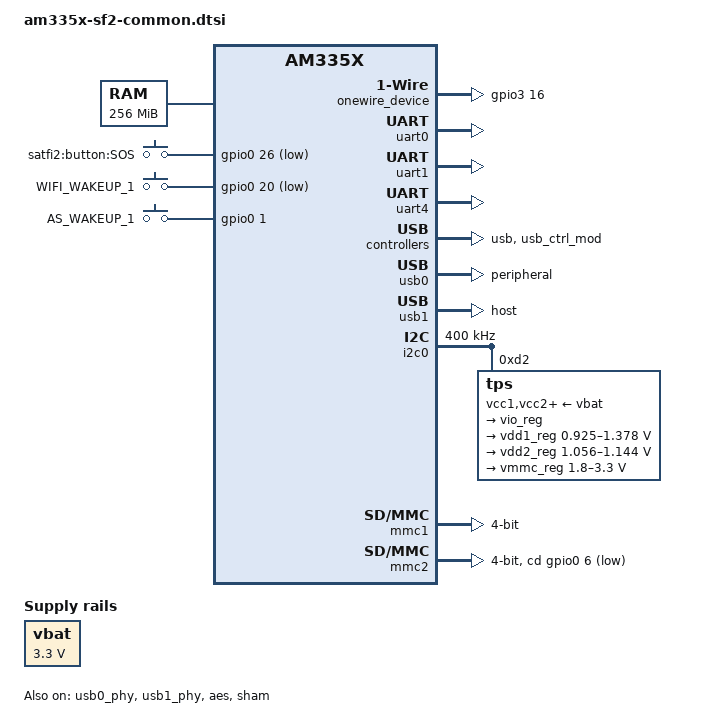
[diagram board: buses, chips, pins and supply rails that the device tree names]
/*
 * Copyright (C) 2012 Texas Instruments Incorporated - http://www.ti.com/
 *
 * This program is free software; you can redistribute it and/or modify
 * it under the terms of the GNU General Public License version 2 as
 * published by the Free Software Foundation.
 *
 * Last Modified 04/27/2017   mjp
 */
// device tree REVG
/ {
    cpus {
        cpu@0 {
            cpu0-supply = <&vdd1_reg>;
        };
    };

    memory {
        device_type = "memory";
        reg = <0x80000000 0x10000000>; /* 256 MB */
    };
/*
    leds {
        pinctrl-names = "default";
        pinctrl-0 = <&user_leds_s0>;

        compatible = "gpio-leds";

        led0 {
            label = "satfi2:led1:red";
            gpios = <&gpio1 21 GPIO_ACTIVE_HIGH>;
            linux,default-trigger = "LED1-RED";
            default-state = "on";
        };

        led1 {
            label = "satfi2:led1:green";
            gpios = <&gpio1 22 GPIO_ACTIVE_HIGH>;
            linux,default-trigger = "LED1-GREEN";
            default-state = "on";
        };

        led2 {
            label = "satfi2:led2:red";
            gpios = <&gpio1 23 GPIO_ACTIVE_HIGH>;
            linux,default-trigger = "LED2-RED";
            default-state = "on";
        };

        led3 {
            label = "satfi2:led2:green";
            gpios = <&gpio1 24 GPIO_ACTIVE_HIGH>;
            linux,default-trigger = "LED2-GREEN";
            default-state = "on";
        };

        led4 {
            label = "satfi2:led3:red";
            gpios = <&gpio1 25 GPIO_ACTIVE_HIGH>;
            linux,default-trigger = "LED3-RED";
            default-state = "on";
        };

        led5 {
            label = "satfi2:led3:green";
            gpios = <&gpio1 26 GPIO_ACTIVE_HIGH>;
            linux,default-trigger = "LED3-GREEN";
            default-state = "on";
        };
    };
*/

    buttons {
        pinctrl-names = "default";
        pinctrl-0 = <&button_pins>;
	
        compatible = "gpio-keys";
	autorepeat;
        #address-cells = <1>;
        #size-cells = <0>;
    
 SOS_button {
            label = "satfi2:button:SOS";
	    linux,code = <157>;
            gpios = <&gpio0 26 GPIO_ACTIVE_LOW>;
	    gpio-key,wakeup;
        };

/*
        PWR_button {
          label = "satfi2:button:PWR";
            gpios = <&gpio0 13 GPIO_ACTIVE_HIGH>; // changed to gpio bank 0 number 13
        };
*/
    };

 gpio_pins: gpio_pins@0 {
    compatible = "gpio-keys";
    #address-cells = <1>;
    #size-cells = <0>;
    autorepeat;

    pins@0 {
      label = "WIFI_WAKEUP_1";
      linux,code = <155>;
      gpios = <&gpio0 20 GPIO_ACTIVE_LOW>;
      gpio-key,wakeup;
    };

  as_wakeup {
      label = "AS_WAKEUP_1";
      linux,code = <156>;
      gpios = <&gpio0 1 GPIO_ACTIVE_HIGH>;
      gpio-key,wakeup;
    };
/*
     SOS_button {
            label = "satfi2:button:SOS";
	linux,code = <157>;
            gpios = <&gpio0 26 GPIO_ACTIVE_LOW>;
	    gpio-key,wakeup;
        };
*/
 
  
  };

    onewire_device {
        pinctrl-names = "default";
        pinctrl-0 = <&dallas_w1_pins>;

        compatible = "w1-gpio";
        gpios = <&gpio3 16 GPIO_ACTIVE_HIGH>; // Connects to Antenna EEPROM
    };

    vbat: fixedregulator@0 {
        compatible = "regulator-fixed";
        regulator-name = "vbat";
        regulator-min-microvolt = <3300000>;
        regulator-max-microvolt = <3300000>;
        regulator-boot-on;
    };
};

&am33xx_pinmux {
    pinctrl-names = "default";
    pinctrl-0 = <&xdma_pins>;
/*
    user_leds_s0: user_leds_s0 {
        pinctrl-single,pins = <
            AM33XX_IOPAD(0x54, PIN_OUTPUT_PULLDOWN | MUX_MODE7)  // gpmc_a5.gpio1_21 
            AM33XX_IOPAD(0x58, PIN_OUTPUT_PULLUP   | MUX_MODE7)  // gpmc_a6.gpio1_22 
            AM33XX_IOPAD(0x5c, PIN_OUTPUT_PULLDOWN | MUX_MODE7)  // gpmc_a7.gpio1_23 
            AM33XX_IOPAD(0x60, PIN_OUTPUT_PULLUP   | MUX_MODE7)  // gpmc_a8.gpio1_24 
            AM33XX_IOPAD(0x64, PIN_OUTPUT_PULLDOWN | MUX_MODE7)  // gpmc_a8.gpio1_24 
            AM33XX_IOPAD(0x68, PIN_OUTPUT_PULLUP   | MUX_MODE7)  // gpmc_a8.gpio1_24 
        >;
    };
*/
    button_pins: pinmux_button_pins {
        pinctrl-single,pins = <
             0x28 (PIN_INPUT_PULLUP | MUX_MODE7)     /* gpmc_a1.gpio11_27     SOS */ // SOS button changed [T11]
            0x17c (PIN_INPUT        | MUX_MODE7)     /* gpmc_advn_ale.gpio2_2 PWR_BUT */ //power button change [D17]
	    0x90 (PIN_INPUT        | MUX_MODE7) // USB_DC_OK
	    0x78 (PIN_INPUT        | MUX_MODE7) // USB_10V_OK

        >;
    };

    i2c0_pins: pinmux_i2c0_pins {
        pinctrl-single,pins = <
            0x188 (PIN_INPUT_PULLUP | MUX_MODE0)    /* i2c0_sda.i2c0_sda */
            0x18c (PIN_INPUT_PULLUP | MUX_MODE0)    /* i2c0_scl.i2c0_scl */
            0x168 (PIN_INPUT_PULLUP | MUX_MODE7)    /* uart0_ctsn.gpio1[8] PMIC_INT   */
            0x16c (PIN_INPUT_PULLUP | MUX_MODE7)    /* uart0_rtsn.gpio1[9] PMIC SLEEP */
        >;
    };

 wake_up_pins: pinmux_wifi_wakeup_pin {
    pinctrl-single,pins = <
    //0x28 (PIN_INPUT | MUX_MODE7) 
    0x1b4 (PIN_INPUT | MUX_MODE7)  // gpmc_wpn.gpio0_20 
    >;
  };

    /* Serial Debug Port */
    uart0_pins: pinmux_uart0_pins {
        pinctrl-single,pins = <
            0x170 (PIN_INPUT_PULLUP    | MUX_MODE0) /* uart0_rxd.uart0_rxd */
            0x174 (PIN_OUTPUT_PULLDOWN | MUX_MODE0) /* uart0_txd.uart0_txd */
        >;
    };

    /* AzureWave AW-CU300 WiFi module */
    uart1_pins: pinmux_uart1_pins {
        pinctrl-single,pins = <
            0x180 (PIN_INPUT  | MUX_MODE0) /* uart1_rxd.gpio0_14  WIFI_RX  */
            0x184 (PIN_OUTPUT_PULLDOWN | MUX_MODE0) /* uart1_txd.gpio0_15  WIFI_TX  */
        >;
    };

/* revg uart2 to marvel WIFI module*/
 	uart4_pins: pinmux_uart4_pins {
        pinctrl-single,pins = <
            0x70 (PIN_INPUT  | MUX_MODE6) /* uart4_rxd  WIFI_UART2_RX  */
           0x74 (PIN_OUTPUT_PULLDOWN | MUX_MODE6) /* uart4_txd  WIFI_UART2_TX  */
       >;
   };

    mmc1_pins: pinmux_mmc1_pins {
        pinctrl-single,pins = <
            0x20 (PIN_OUTPUT_PULLUP   | MUX_MODE7) /* gpmc_ad8.gpio0_22     VDD_3V3_WIFI_EN */
            0x88 (PIN_OUTPUT_PULLDOWN   | MUX_MODE7) /* gpmc_csn3.gpio2_0     WIFI_RESET      */

            /* Setup this signals to be tri-stated upon boot so WiFi module boots properly    */
            0x1b4  (PIN_INPUT            | MUX_MODE7) /* 0_20      WIFI_WAKEUP_1   */
            0x94  (PIN_INPUT            | MUX_MODE7) /* gpio2_3  WIFI_WAKEUP_0   */

        >;
    };

    mmc1_pins_sleep: pinmux_mmc1_pins_sleep {
        pinctrl-single,pins = <
            0x20  (PIN_OUTPUT_PULLDOWN  | MUX_MODE7) /* gpmc_ad8.gpio0_22  VDD_3V3_WIFI_EN */
        >;
    };

    dallas_w1_pins: pinmux_dallas_w1_pins {
        pinctrl-single,pins = <
            0x198 (PIN_INPUT_PULLUP | MUX_MODE7)  /* mcasp0_axr0.gpio3_16 Antenna EEPROM */
        >;
    };

    /* Clock Outputs - Make inputs to eliminate RF interference */
    xdma_pins: pinmux_xdma_pins {
        pinctrl-single,pins = <
            0x1b0 (PIN_INPUT | MUX_MODE7) /* xdma_event_intr0.clkout1 */
            0x1b4 (PIN_INPUT | MUX_MODE7) /* xdma_event_intr1.clkout2 */
        >;
    };

    mmc2_pins: pinmux_mmc2_pins {
        pinctrl-single,pins = <
            0x160 (PIN_INPUT | MUX_MODE7) /* spi0_cs1.gpio0_6 MMC0_CD */
        >;
    };

    emmc_pins: pinmux_emmc_pins {
        pinctrl-single,pins = <
            0x80 (PIN_INPUT_PULLUP | MUX_MODE2) /* gpmc_csn1.mmc1_clk */
            0x84 (PIN_INPUT_PULLUP | MUX_MODE2) /* gpmc_csn2.mmc1_cmd */
            0x00 (PIN_INPUT_PULLUP | MUX_MODE1) /* gpmc_ad0.mmc1_dat0 */
            0x04 (PIN_INPUT_PULLUP | MUX_MODE1) /* gpmc_ad1.mmc1_dat1 */
            0x08 (PIN_INPUT_PULLUP | MUX_MODE1) /* gpmc_ad2.mmc1_dat2 */
            0x0c (PIN_INPUT_PULLUP | MUX_MODE1) /* gpmc_ad3.mmc1_dat3 */
            0x10 (PIN_INPUT_PULLUP | MUX_MODE1) /* gpmc_ad4.mmc1_dat4 */
            0x14 (PIN_INPUT_PULLUP | MUX_MODE1) /* gpmc_ad5.mmc1_dat5 */
            0x18 (PIN_INPUT_PULLUP | MUX_MODE1) /* gpmc_ad6.mmc1_dat6 */
            0x1c (PIN_INPUT_PULLUP | MUX_MODE1) /* gpmc_ad7.mmc1_dat7 */
        >;
    };

};

&uart0 {
    pinctrl-names = "default";
    pinctrl-0 = <&uart0_pins>;

    status = "okay";
};

&uart1 {
    pinctrl-names = "default";
    pinctrl-0 = <&uart1_pins>;
    status = "okay";
};

&uart4 {
    pinctrl-names = "default";
    pinctrl-0 = <&uart4_pins>;

    status = "okay";
};

&usb {
    status = "okay";
};

&usb_ctrl_mod {
    status = "okay";
};

&usb0_phy {
    status = "okay";
};

&usb1_phy {
    status = "okay";
};

&usb0 {
    status = "okay";
    dr_mode = "peripheral";
};

&usb1 {
    status = "okay";
    dr_mode = "host";
};

&cppi41dma  {
    status = "okay";
};

&i2c0 {
    pinctrl-names = "default";
    pinctrl-0 = <&i2c0_pins>;

    status = "okay";
    clock-frequency = <400000>;

    tps: tps@2d {
        reg = <0x2d>;
    };

};
#include "gsx2spi.dtsi"
#include "gps-accel-satfi2.dtsi"
#include "tps65910.dtsi"

&tps {
    reg = <0xd2>;
    interrupt-parent = <&intc>;
    interrupts = < 0 118 0x04 >;

    #gpio-cells = <2>;
    gpio-controller;

    #interrupt-cells = <2>;
    interrupt-controller;

    ti,en-ck32k-xtal;

    vcc1-supply = <&vbat>;
    vcc2-supply = <&vbat>;
    vcc3-supply = <&vbat>;
    vcc4-supply = <&vbat>;
    vcc5-supply = <&vbat>;
    vcc6-supply = <&vbat>;
    vcc7-supply = <&vbat>;
    vccio-supply = <&vbat>;

    regulators {
        vrtc_reg: regulator@0 {
            regulator-always-on;
        };

        vio_reg: regulator@1 {
            regulator-name = "vio,vdds_ddr";
            regulator-always-on;
        };

        vdd1_reg: regulator@2 {
            /* VDD_MPU voltage limits 0.95V - 1.325V with +/-4% tolerance */
            regulator-name = "vdd_mpu,vdd1";
            regulator-min-microvolt = <925000>;
            regulator-max-microvolt = <1378000>;
            regulator-boot-on;
            regulator-always-on;
        };

        vdd2_reg: regulator@3 {
            /* VDD_CORE voltage limits 1.056V - 1.144V with +/-4% tolerance */
            regulator-name = "vdd_core";
            regulator-min-microvolt = <1056000>;
            regulator-max-microvolt = <1144000>;
            regulator-boot-on;
            regulator-always-on;
        };

        vdd3_reg: regulator@4 {
            regulator-always-off;
        };

        vdig1_reg: regulator@5 {
            regulator-always-on;
        };

        vdig2_reg: regulator@6 {
            regulator-always-on;
        };

        vpll_reg: regulator@7 {
            regulator-always-on;
        };

        vdac_reg: regulator@8 {
            regulator-always-on;
        };

        vaux1_reg: regulator@9 {
            regulator-always-on;
        };

        vaux2_reg: regulator@10 {
            regulator-always-on;
        };

        vaux33_reg: regulator@11 {
            regulator-always-on;
        };

        vmmc_reg: regulator@12 {
            regulator-min-microvolt = <1800000>;
            regulator-max-microvolt = <3300000>;
            regulator-always-on;
        };
    };
};

&mmc1 {
    status = "okay";
    bus-width = <0x4>;
    pinctrl-names = "default", "sleep";
    pinctrl-0 = <&mmc1_pins>;
    pinctrl-1 = <&mmc1_pins_sleep>;
};

&mmc2 {
    status = "okay";
    bus-width = <0x4>;
    pinctrl-names = "default";
    pinctrl-0 = <&mmc2_pins>;
    cd-gpios = <&gpio0 6 GPIO_ACTIVE_HIGH>;
    cd-inverted;
};

&aes {
    status = "okay";
};

&sham {
    status = "okay";
};
